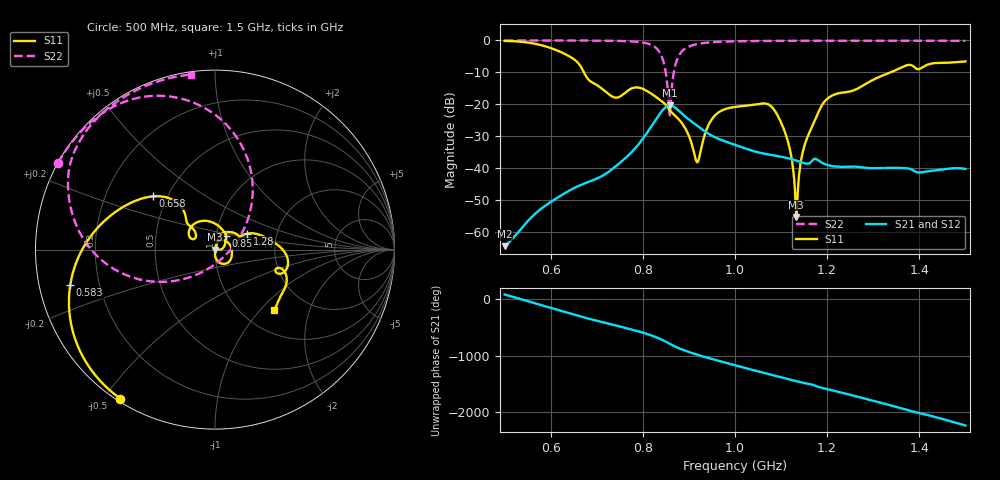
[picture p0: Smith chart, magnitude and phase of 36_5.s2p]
! TOUCHSTONE file generated by CST MICROWAVE STUDIO
! Date and time: Mon Oct 26 12:29:11 2020
! Project name: Scenario_1_Circular_Tissue_out_of_Line.cst
! Parameters = {dy1=260.935; L_HA=400; MT=2.54; Rad_Dielectric=30; Rad_Lower=7.3; Rad_Upper=30; a_HA=580; a_WG=246; b_HA=500; b_WG=121; c_HA=0; c_WG=187; d_feed=85; dx1=866; h_feed=15; h_lower=18; h_upper=40}
! Header version: 2018
! Port assignment regex: !\s*Touchstone port\s*([0-9]+)\s*=\s*(CST MWS port|CST DS port)\s*([0-9]+|Zmin|Zmax)\s*\(\"(.*)\"\)(\s*mode\s*([0-9]+))?.*
! Touchstone port assignment:
! Touchstone port 1 = CST MWS port 1 ("")
! Touchstone port 2 = CST MWS port 2 ("")
# GHz S DB R 50
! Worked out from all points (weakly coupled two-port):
!   1001 points, 500 MHz to 1.5 GHz, reference 50 ohm
!   highest |S21| = -20.30 dB at 859 MHz (marker M1); lowest = -64.3 dB at 500 MHz (marker M2)
!   lowest |S11| = -55.2 dB at 1.133 GHz (marker M3), VSWR 1.00, Z = 50.2 - j0.0601 ohm
!   |S11| at or under -10 dB: 672.2 MHz to 1.337 GHz (664.8 MHz wide, 66.2 % of centre)
!   |S22| runs from -24.0 to 0.0 dB; largest |S21 - S12| = 0.00075
!   S11 on the Smith chart (normalised r, x): 500 MHz: 0.01, -0.55; 583 MHz: 0.09, -0.12; 658 MHz: 0.42, +0.31; 850 MHz: 1.12, +0.17; 1.28 GHz: 1.41, +0.26; 1.5 GHz: 1.39, -1.19
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0.5  -0.15 -122.4  -64.29 86.0  -64.29 86.0  -0.01 151.1
0.583  -1.62 -166.3  -52.18 -110.0  -52.18 -109.9  -0.02 145.4
0.658  -6.82 139.4  -45.63 73.3  -45.63 73.3  -0.04 139.2
0.667  -8.59 130.9  -45.06 52.6  -45.06 52.6  -0.04 138.4
0.736  -17.70 144.6  -39.91 -90.6  -39.92 -90.6  -0.12 130.0
0.779  -14.82 140.6  -34.40 178.2  -34.40 178.2  -0.33 120.7
0.834  -18.23 73.2  -23.53 31.7  -23.53 31.7  -3.20 84.1
0.85  -20.16 51.8  -20.79 -30.8  -20.79 -30.8  -10.34 49.0
0.859  -21.92 41.6  -20.30 -70.0  -20.30 -70.0  -23.07 -75.6
0.877  -24.51 24.5  -21.84 -141.6  -21.84 -141.6  -5.09 -167.7
0.918  -38.06 37.7  -26.67 98.8  -26.67 98.8  -1.15 158.9
0.951  -24.38 57.7  -29.85 20.6  -29.86 20.6  -0.54 148.9
1  -20.78 6.2  -32.64 -88.2  -32.64 -88.2  -0.28 140.3
1.086  -21.90 -69.0  -35.98 88.3  -35.97 88.3  -0.14 131.0
1.116  -32.19 -90.6  -36.84 24.7  -36.84 24.8  -0.12 128.4
1.133  -55.17 -20.1  -37.54 -10.6  -37.54 -10.6  -0.11 127.0
1.147  -34.90 69.9  -38.21 -37.7  -38.22 -38.0  -0.10 125.8
1.167  -27.08 72.8  -37.69 -70.7  -38.10 -69.7  -0.10 124.2
1.202  -18.03 51.5  -38.99 -155.7  -38.99 -155.7  -0.09 121.5
1.28  -13.90 26.3  -39.72 42.9  -39.72 42.8  -0.08 115.6
1.334  -10.17 10.1  -39.81 -70.9  -39.81 -70.9  -0.09 111.5
1.5  -6.56 -45.5  -40.16 -75.9  -40.20 -75.9  -0.13 97.9
